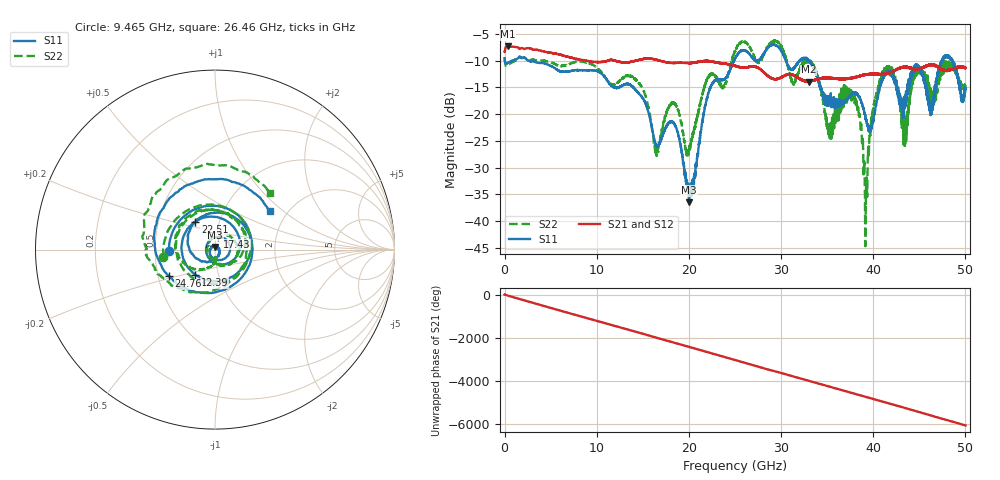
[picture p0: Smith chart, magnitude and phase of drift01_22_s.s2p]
!Created with skrf (http://scikit-rf.org).
# Hz S RI R 50.0
!freq ReS11 ImS11 ReS21 ImS21 ReS12 ImS12 ReS22 ImS22
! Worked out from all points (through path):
!   10001 points, 300 kHz to 50 GHz, reference 50 ohm
!   highest |S21| = -7.33 dB at 325.3 MHz (marker M1); lowest = -14.0 dB at 33 GHz (marker M2)
!   group delay of S21, straight-line fit = 335 ps
!   lowest |S11| = -36.5 dB at 20.01 GHz (marker M3), VSWR 1.03, Z = 50 + j1.5 ohm
!   |S11| at or under -10 dB: 2.566 GHz to 24.9 GHz (22.34 GHz wide, 163 % of centre); 30.51 GHz to 32.03 GHz (1.519 GHz wide, 4.86 % of centre); 33.07 GHz to 47.44 GHz (14.38 GHz wide, 35.7 % of centre) (the widest 3 of 25)
!   |S22| runs from -44.7 to -6.3 dB; largest |S21 - S12| = 0.0086
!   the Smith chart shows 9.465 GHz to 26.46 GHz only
!   S11 on the Smith chart (normalised r, x): 9.465 GHz: 0.59, -0.01; 12.39 GHz: 0.77, -0.22; 17.43 GHz: 1.02, +0.15; 22.51 GHz: 0.77, +0.24; 24.76 GHz: 0.57, -0.18; 26.46 GHz: 1.62, +0.82
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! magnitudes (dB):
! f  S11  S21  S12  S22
! 300 kHz  -9.6  -8.4  -8.5  -9.5
! 325.3 MHz  -10.5  -7.3  -7.3  -10.9
! 8.335 GHz  -11.8  -9.9  -9.9  -10.2
! 9.465 GHz  -11.8  -10.2  -10.2  -10.7
! 12.39 GHz  -15.0  -10.2  -10.2  -13.9
! 16.67 GHz  -26.0  -10.0  -10.0  -27.2
! 17.43 GHz  -22.6  -10.3  -10.3  -20.3
! 20.01 GHz  -36.5  -10.5  -10.5  -26.6
! 22.51 GHz  -14.5  -10.2  -10.2  -12.5
! 24.76 GHz  -10.6  -10.9  -10.9  -9.3
! 25 GHz  -9.6  -11.0  -11.0  -8.4
! 26.46 GHz  -8.6  -11.2  -11.2  -7.1
! 33 GHz  -10.0  -14.0  -13.8  -10.1
! 33.34 GHz  -10.8  -13.8  -13.8  -10.5
! 35.23 GHz  -17.2  -13.3  -13.3  -22.3
! 37.95 GHz  -16.1  -13.1  -13.2  -17.1
! 39.17 GHz  -20.7  -12.6  -12.7  -41.7
! 40.14 GHz  -20.0  -12.5  -12.6  -17.9
! 41.67 GHz  -12.1  -12.3  -12.4  -11.9
! 43.39 GHz  -16.7  -11.3  -11.2  -24.4
! 44.88 GHz  -11.2  -11.6  -11.6  -11.6
! 50 GHz  -15.3  -11.3  -11.4  -15.1
